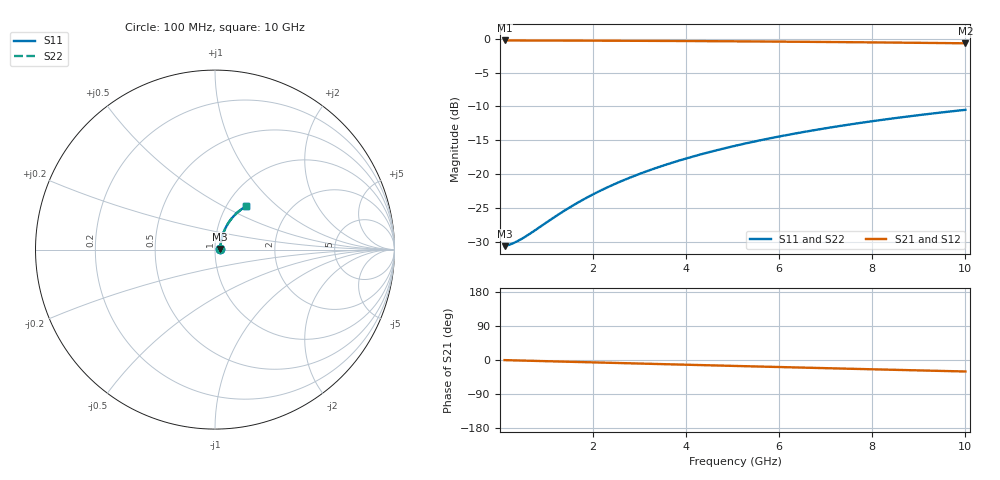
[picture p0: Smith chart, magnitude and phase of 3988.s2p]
# Hz S RI R 50.00
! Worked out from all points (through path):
!   100 points, 100 MHz to 10 GHz, reference 50 ohm
!   highest |S21| = -0.26 dB at 100 MHz (marker M1); lowest = -0.7 dB at 10 GHz (marker M2)
!   group delay of S21, straight-line fit = 8.44 ps
!   lowest |S11| = -30.6 dB at 100 MHz (marker M3), VSWR 1.06, Z = 53 + j0.325 ohm
!   |S11| at or under -10 dB: start of sweep to end of sweep
!   |S22| runs from -30.6 to -10.5 dB; largest |S21 - S12| = 0
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1e8  0.0293 0.00306  0.9707 -0.00531  0.9707 -0.00531  0.0293 0.00306
2e8  0.0295 0.00612  0.9704 -0.0106  0.9704 -0.0106  0.0295 0.00612
3e8  0.0298 0.00918  0.9702 -0.0159  0.9702 -0.0159  0.0298 0.00918
5e8  0.0302 0.0153  0.9697 -0.0265  0.9697 -0.0265  0.0302 0.0153
7e8  0.0308 0.0214  0.9691 -0.0371  0.9691 -0.0371  0.0308 0.0214
1.3e9  0.0331 0.0396  0.9664 -0.0687  0.9664 -0.0687  0.0331 0.0396
1.6e9  0.0347 0.0486  0.9646 -0.0844  0.9646 -0.0844  0.0347 0.0486
1.8e9  0.0359 0.0545  0.9632 -0.0949  0.9632 -0.0949  0.0359 0.0545
2.2e9  0.0387 0.0664  0.96 -0.1157  0.96 -0.1157  0.0387 0.0664
2.6e9  0.042 0.0781  0.9562 -0.1364  0.9562 -0.1364  0.042 0.0781
3e9  0.0458 0.0896  0.9519 -0.1569  0.9519 -0.1569  0.0458 0.0896
3.4e9  0.05 0.1009  0.947 -0.1771  0.947 -0.1771  0.05 0.1009
3.8e9  0.0548 0.112  0.9415 -0.1972  0.9415 -0.1972  0.0548 0.112
4.2e9  0.0599 0.1228  0.9355 -0.217  0.9355 -0.217  0.0599 0.1228
4.6e9  0.0655 0.1334  0.929 -0.2366  0.929 -0.2366  0.0655 0.1334
5.1e9  0.0732 0.1462  0.9201 -0.2606  0.9201 -0.2606  0.0732 0.1462
5.9e9  0.0866 0.1656  0.9043 -0.2981  0.9043 -0.2981  0.0866 0.1656
6.7e9  0.1016 0.1837  0.8867 -0.3342  0.8867 -0.3342  0.1016 0.1837
7.5e9  0.1179 0.2003  0.8675 -0.3689  0.8675 -0.3689  0.1179 0.2003
8.4e9  0.1375 0.2171  0.8441 -0.406  0.8441 -0.406  0.1375 0.2171
9.2e9  0.156 0.2303  0.8219 -0.4373  0.8219 -0.4373  0.156 0.2303
1e10  0.1752 0.2418  0.7986 -0.4669  0.7986 -0.4669  0.1752 0.2418
